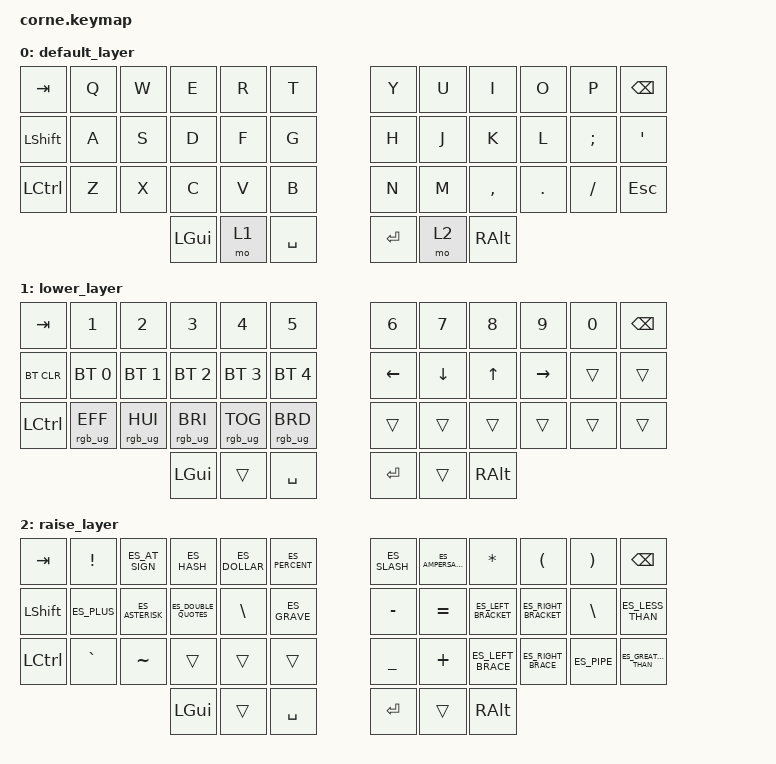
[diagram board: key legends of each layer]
/*
 * Copyright (c) 2020 The ZMK Contributors
 *
 * SPDX-License-Identifier: MIT
 */

#include <behaviors.dtsi>
#include <dt-bindings/zmk/bt.h>
#include <dt-bindings/zmk/rgb.h>
#include <dt-bindings/zmk/keys.h>
#include "keys_es.h"

// Corne completo: 21 LED de teclas y 6 inferiores por mitad.
&led_strip {
    chain-length = <27>;
};

/ {

    keymap {
        compatible = "zmk,keymap";

        default_layer {
            // -----------------------------------------------------------------------------------------
            // |  TAB |  Q  |  W  |  E  |  R  |  T  |   |  Y  |  U   |  I  |  O  |  P  | BSPC |
            // | CTRL |  A  |  S  |  D  |  F  |  G  |   |  H  |  J   |  K  |  L  |  Ñ  |  ´   |
            // | SHFT |  Z  |  X  |  C  |  V  |  B  |   |  N  |  M   |  ,  |  .  |  -  | ESC  |
            //                    | GUI | LWR | SPC |   | ENT | RSE  | ALT |

            bindings = <
&kp TAB    &kp Q  &kp W  &kp E     &kp R  &kp T        &kp Y    &kp U  &kp I      &kp O    &kp P     &kp BSPC
&kp LSHFT  &kp A  &kp S  &kp D     &kp F  &kp G        &kp H    &kp J  &kp K      &kp L    &kp SEMI  &kp SQT
&kp LCTRL  &kp Z  &kp X  &kp C     &kp V  &kp B        &kp N    &kp M  &kp COMMA  &kp DOT  &kp FSLH  &kp ESC
                         &kp LGUI  &mo 1  &kp SPACE    &kp RET  &mo 2  &kp RALT
            >;
        };

        lower_layer {
            // -----------------------------------------------------------------------------------------
            // |  TAB |  1  |  2  |  3  |  4  |  5  |   |  6  |  7  |  8  |  9  |  0  | BSPC |
            // | BTCLR| BT1 | BT2 | BT3 | BT4 | BT5 |   | LFT | DWN |  UP | RGT |     |      |
            // | SHFT |     |     |     |     |     |   |     |     |     |     |     |      |
            //                    | GUI |     | SPC |   | ENT |     | ALT |

            bindings = <
&kp TAB     &kp N1        &kp N2        &kp N3        &kp N4        &kp N5          &kp N6    &kp N7    &kp N8    &kp N9     &kp N0  &kp BSPC
&bt BT_CLR  &bt BT_SEL 0  &bt BT_SEL 1  &bt BT_SEL 2  &bt BT_SEL 3  &bt BT_SEL 4    &kp LEFT  &kp DOWN  &kp UP    &kp RIGHT  &trans  &trans
&kp LCTRL   &rgb_ug RGB_EFF        &rgb_ug RGB_HUI        &rgb_ug RGB_BRI        &rgb_ug RGB_TOG        &rgb_ug RGB_BRD          &trans    &trans    &trans    &trans     &trans  &trans
                                        &kp LGUI      &trans        &kp SPACE       &kp RET   &trans    &kp RALT
            >;
        };

        raise_layer {
            // -----------------------------------------------------------------------------------------
            // |  TAB |  !  |  @  |  #  |  $  |  %  |   |  /  |  &  |  *  |  (  |  )  | BSPC |
            // | CTRL |  +  |  *  |  "  |  \  |  `  |   |  '  |  ¡  |  [  |  ]  |  ç  |  <   |
            // | SHFT |     |     |     |     |     |   |  ?  |  ¿  |  {  |  }  | "|" |  >   |
            //                    | GUI |     | SPC |   | ENT |     | ALT |

            bindings = <
&kp TAB    &kp EXCL  &kp ES_AT_SIGN  &kp ES_HASH  &kp ES_DOLLAR  &kp ES_PERCENT    &kp ES_SLASH  &kp ES_AMPERSAND   &kp ASTRK  &kp LPAR  &kp RPAR  &kp BSPC
&kp LSHFT  &kp ES_PLUS  &kp ES_ASTERISK  &kp ES_DOUBLE_QUOTES    &kp BACKSLASH   &kp ES_GRAVE       &kp MINUS  &kp EQUAL  &kp ES_LEFT_BRACKET   &kp ES_RIGHT_BRACKET  &kp BSLH  &kp ES_LESS_THAN
&kp LCTRL  &kp GRAVE    &kp TILDE  &trans    &trans    &trans       &kp UNDER  &kp PLUS   &kp ES_LEFT_BRACE   &kp ES_RIGHT_BRACE  &kp ES_PIPE  &kp ES_GREATER_THAN
                             &kp LGUI  &trans    &kp SPACE    &kp RET    &trans     &kp RALT
            >;
        };

    };
};
